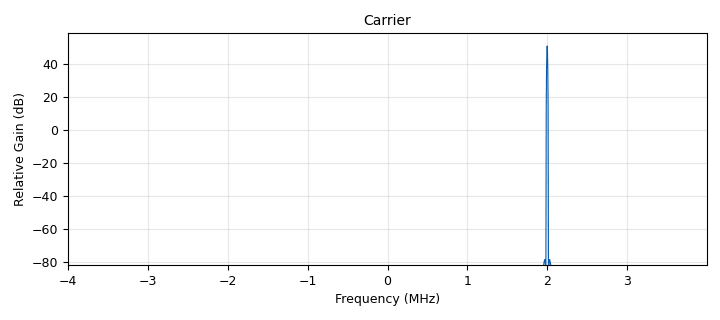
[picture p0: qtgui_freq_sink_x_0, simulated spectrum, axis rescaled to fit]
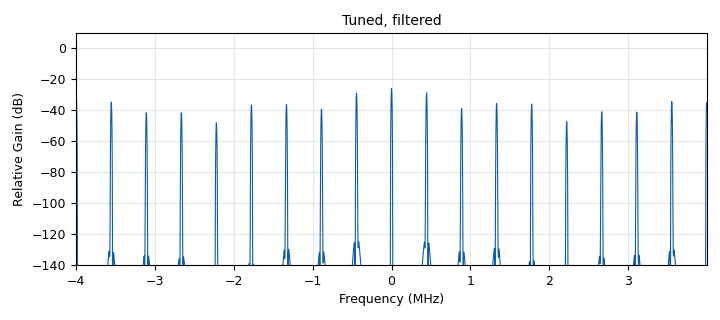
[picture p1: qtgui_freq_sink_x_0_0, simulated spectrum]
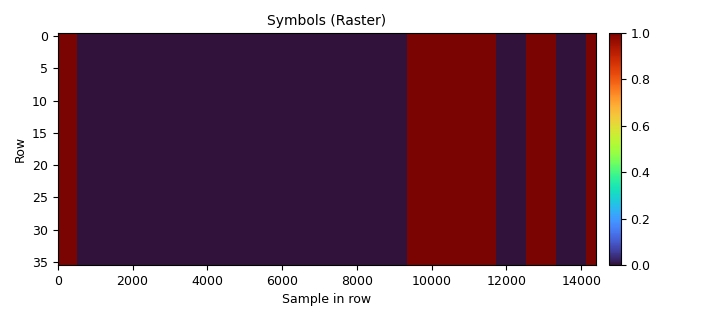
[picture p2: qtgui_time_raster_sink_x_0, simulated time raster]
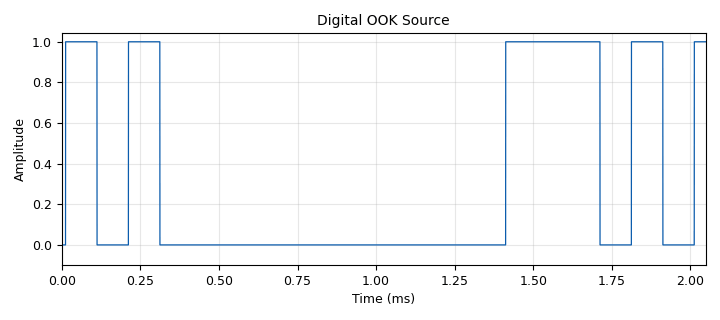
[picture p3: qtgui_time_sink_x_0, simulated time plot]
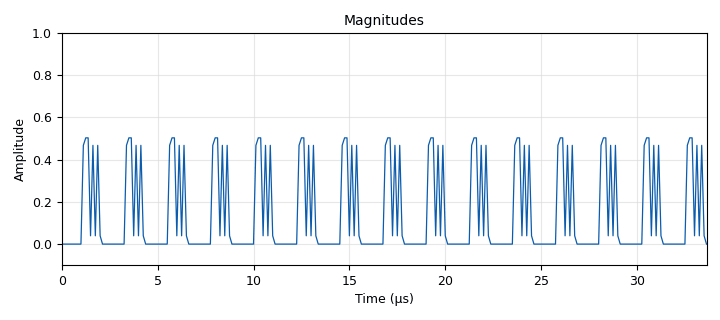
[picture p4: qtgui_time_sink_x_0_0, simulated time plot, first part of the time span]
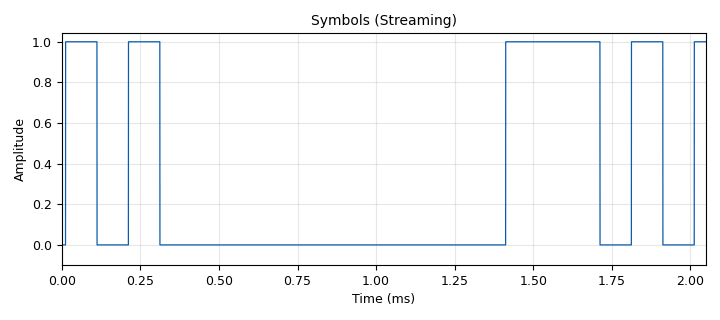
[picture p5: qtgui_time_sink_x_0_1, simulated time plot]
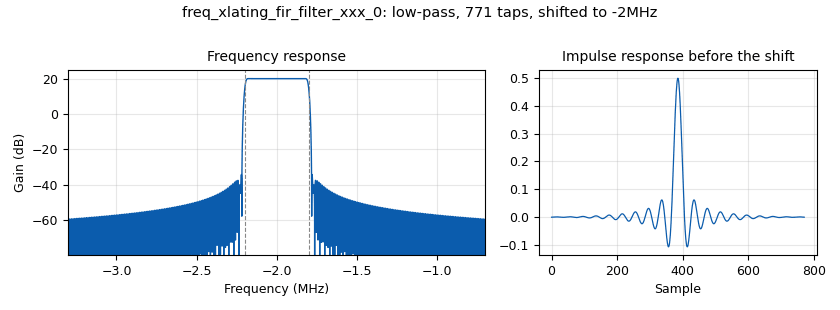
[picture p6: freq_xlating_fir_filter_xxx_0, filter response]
options:
  parameters:
    author: sneak
    generate_options: qt_gui
    id: digi_basics
    output_language: python
    title: digi_basics
  states: {}

blocks:
- name: center_freq
  id: variable
  parameters:
    value: 313e6
  states: {}
- name: demod_symbol_repeat
  id: variable_qtgui_entry
  parameters:
    gui_hint: 'tab@1: 0, 1, 1, 1'
    label: demod_symbol_repeat
    type: int
    value: '800'
  states: {}
- name: gain
  id: variable
  parameters:
    value: '1000'
  states: {}
- name: lpf_taps
  id: variable_low_pass_filter_taps
  parameters:
    cutoff_freq: 200e3
    gain: '10.0'
    samp_rate: samp_rate
    width: 25e3
    win: window.WIN_HAMMING
  states: {}
- name: rx_freq
  id: variable_qtgui_entry
  parameters:
    gui_hint: 'tab@1: 0, 0, 1, 1'
    label: rx_freq
    type: int
    value: int(315e6)
  states: {}
- name: samp_rate
  id: variable
  parameters:
    value: '8000000'
  states: {}
- name: src_bits
  id: variable
  parameters:
    value: (0, 1, 1, 1, 0, 1, 0, 1, 0, 0, 0, 0, 0, 0, 0, 0, 0, 0)
  states: {}
- name: tx_freq
  id: variable_qtgui_entry
  parameters:
    gui_hint: tab@0
    label: tx_freq
    type: int
    value: int(315e6)
  states: {}
- name: analog_const_source_x_0
  id: analog_const_source_x
  parameters:
    const: '0'
    type: float
  states: {}
- name: analog_sig_source_x_0
  id: analog_sig_source_x
  parameters:
    amp: gain
    freq: tx_freq-center_freq
    offset: '0'
    phase: '0'
    samp_rate: samp_rate
    type: complex
    waveform: analog.GR_COS_WAVE
  states: {}
- name: blocks_add_const_vxx_0
  id: blocks_add_const_vxx
  parameters:
    const: '-0.25'
    type: float
  states: {}
- name: blocks_char_to_float_0
  id: blocks_char_to_float
  parameters:
    scale: '1'
  states: {}
- name: blocks_complex_to_mag_0
  id: blocks_complex_to_mag
  parameters: {}
  states: {}
- name: blocks_float_to_complex_0
  id: blocks_float_to_complex
  parameters: {}
  states: {}
- name: blocks_multiply_xx_0
  id: blocks_multiply_xx
  parameters:
    type: complex
  states: {}
- name: blocks_repeat_0
  id: blocks_repeat
  parameters:
    interp: '800'
    type: float
  states: {}
- name: blocks_repeat_1
  id: blocks_repeat
  parameters:
    interp: demod_symbol_repeat
    type: byte
  states: {}
- name: blocks_throttle2_0
  id: blocks_throttle2
  parameters:
    samples_per_second: samp_rate
    type: complex
  states: {}
- name: blocks_vector_source_x_0
  id: blocks_vector_source_x
  parameters:
    repeat: 'True'
    type: float
    vector: src_bits
  states: {}
- name: digital_binary_slicer_fb_0
  id: digital_binary_slicer_fb
  parameters: {}
  states: {}
- name: freq_xlating_fir_filter_xxx_0
  id: freq_xlating_fir_filter_xxx
  parameters:
    center_freq: center_freq-rx_freq
    decim: demod_symbol_repeat
    samp_rate: samp_rate
    taps: lpf_taps
    type: ccc
  states: {}
- name: qtgui_freq_sink_x_0
  id: qtgui_freq_sink_x
  parameters:
    bw: samp_rate
    fc: '0'
    fftsize: '2048'
    gui_hint: tab@0
    name: Carrier
    type: complex
  states: {}
- name: qtgui_freq_sink_x_0_0
  id: qtgui_freq_sink_x
  parameters:
    bw: samp_rate
    fc: '0'
    fftsize: '2048'
    gui_hint: 'tab@1: 1, 0, 1, 2'
    name: Tuned, filtered
    type: complex
  states: {}
- name: qtgui_time_raster_sink_x_0
  id: qtgui_time_raster_sink_x
  parameters:
    gui_hint: 'tab@1: 4, 0, 1, 2'
    name: Symbols (Raster)
    ncols: len(src_bits)*demod_symbol_repeat
    nrows: '256'
    samp_rate: samp_rate
    type: byte
    zmin: '0'
  states: {}
- name: qtgui_time_sink_x_0
  id: qtgui_time_sink_x
  parameters:
    gui_hint: tab@0
    name: Digital OOK Source
    size: '16384'
    srate: samp_rate
    tr_delay: '100e-6'
    type: float
    ymin: '-0.1'
  states: {}
- name: qtgui_time_sink_x_0_0
  id: qtgui_time_sink_x
  parameters:
    gui_hint: 'tab@1: 2, 0, 1, 2'
    name: Magnitudes
    size: '16384'
    srate: samp_rate
    tr_delay: '100e-6'
    type: float
    ymin: '-0.1'
  states: {}
- name: qtgui_time_sink_x_0_1
  id: qtgui_time_sink_x
  parameters:
    gui_hint: 'tab@1: 3, 0, 1, 2'
    name: Symbols (Streaming)
    size: '16384'
    srate: samp_rate
    tr_delay: '100e-6'
    type: float
    ymin: '-0.1'
  states: {}
- name: qtgui_time_sink_x_1
  id: qtgui_time_sink_x
  parameters:
    gui_hint: tab@0
    name: OOK Modulated Signal
    size: '16384'
    srate: samp_rate
    tr_delay: '0.1e-3'
    tr_level: '500'
    tr_mode: qtgui.TRIG_MODE_AUTO
    type: complex
    ymax: '1100'
    ymin: '-1100'
  states: {}
- name: tab
  id: qtgui_tab_widget
  parameters:
    label0: D/A
    label1: A/D
    num_tabs: '2'
  states: {}
- name: virtual_sink_0
  id: virtual_sink
  parameters:
    stream_id: ook_mod_source
  states: {}
- name: virtual_source_0
  id: virtual_source
  parameters:
    stream_id: ook_mod_source
  states: {}

connections:
- [analog_const_source_x_0, '0', blocks_float_to_complex_0, '1']
- [analog_sig_source_x_0, '0', blocks_multiply_xx_0, '1']
- [analog_sig_source_x_0, '0', qtgui_freq_sink_x_0, '0']
- [blocks_add_const_vxx_0, '0', digital_binary_slicer_fb_0, '0']
- [blocks_char_to_float_0, '0', qtgui_time_sink_x_0_1, '0']
- [blocks_complex_to_mag_0, '0', blocks_add_const_vxx_0, '0']
- [blocks_complex_to_mag_0, '0', qtgui_time_sink_x_0_0, '0']
- [blocks_float_to_complex_0, '0', blocks_multiply_xx_0, '0']
- [blocks_float_to_complex_0, '0', blocks_throttle2_0, '0']
- [blocks_multiply_xx_0, '0', qtgui_time_sink_x_1, '0']
- [blocks_multiply_xx_0, '0', virtual_sink_0, '0']
- [blocks_repeat_0, '0', blocks_float_to_complex_0, '0']
- [blocks_repeat_0, '0', qtgui_time_sink_x_0, '0']
- [blocks_repeat_1, '0', blocks_char_to_float_0, '0']
- [blocks_repeat_1, '0', qtgui_time_raster_sink_x_0, '0']
- [blocks_vector_source_x_0, '0', blocks_repeat_0, '0']
- [digital_binary_slicer_fb_0, '0', blocks_repeat_1, '0']
- [freq_xlating_fir_filter_xxx_0, '0', blocks_complex_to_mag_0, '0']
- [freq_xlating_fir_filter_xxx_0, '0', qtgui_freq_sink_x_0_0, '0']
- [virtual_source_0, '0', freq_xlating_fir_filter_xxx_0, '0']

metadata:
  file_format: 1
  grc_version: 3.10.6.0
